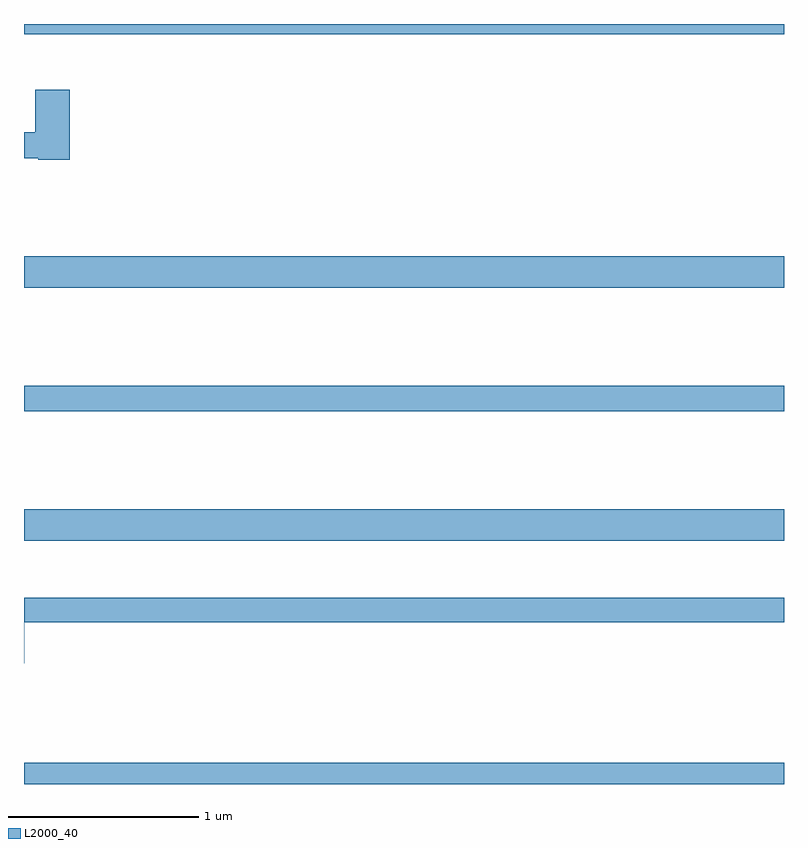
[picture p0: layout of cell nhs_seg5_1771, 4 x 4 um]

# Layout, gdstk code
import gdstk
lib = gdstk.Library(unit=1e-6, precision=1e-09)
def R(c, l, rs):  # rectangles x0, y0, x1, y1
    for r in rs: c.add(gdstk.rectangle(r[:2], r[2:], *l))
def P(c, l, *ps):  # polygons
    for p in ps: c.add(gdstk.Polygon(p, *l))
L2000_40 = (2000, 40)

nhs_seg5_1771 = lib.new_cell('nhs_seg5_1771')
R(nhs_seg5_1771, L2000_40, [(217,868.799,221,868.912), (217,870.08,221,870.244), (217,870.76,221,870.896), (217,871.412,221,871.576), (217,872.744,221,872.799)])
P(nhs_seg5_1771, L2000_40, [(217.241,872.452),(217.058,872.452),(217.058,872.228),(217,872.228),(217,872.092),(217.074,872.092),(217.074,872.084),(217.241,872.084)],
  [(217.001,869.65),(221,869.65),(221,869.779),(217,869.779),(217,869.435),(217.001,869.435)])

lib.write_gds('nhs_seg5_1771.gds')
